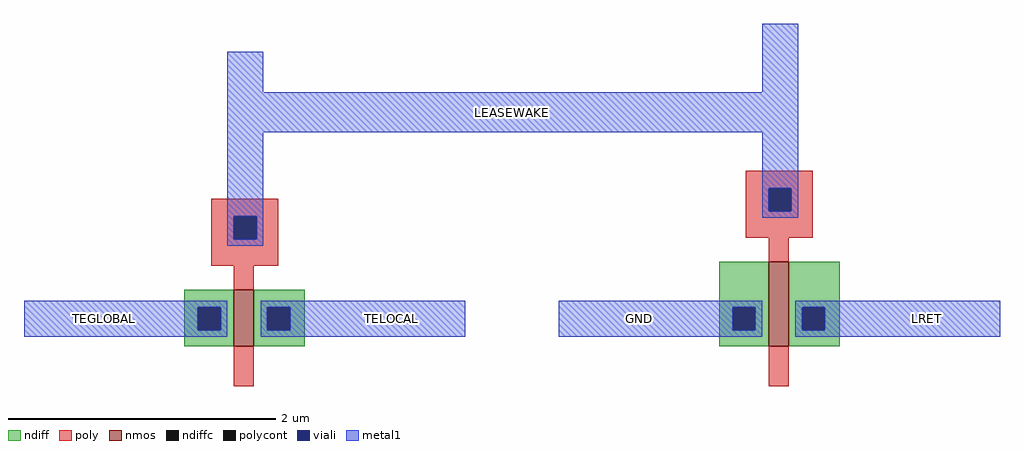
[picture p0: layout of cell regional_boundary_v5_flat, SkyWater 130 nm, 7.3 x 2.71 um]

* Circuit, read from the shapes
.subckt regional_boundary_v5_flat GND LEASEWAKE LRET TEGLOBAL TELOCAL
XM1 TELOCAL LEASEWAKE TEGLOBAL VSUBS sky130_fd_pr__nfet_01v8 w=0.42 l=0.15
XM2 LRET LEASEWAKE GND VSUBS sky130_fd_pr__nfet_01v8 w=0.63 l=0.15
.ends

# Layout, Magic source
magic
tech sky130A
<< nmos >>
rect 37 30 52 72
rect 437 30 452 93
<< ndiff >>
rect 0 59 37 72
rect 0 42 10 59
rect 27 42 37 59
rect 0 30 37 42
rect 52 59 90 72
rect 52 42 62 59
rect 79 42 90 59
rect 52 30 90 42
rect 400 59 437 93
rect 400 42 410 59
rect 427 42 437 59
rect 400 30 437 42
rect 452 59 490 93
rect 452 42 462 59
rect 479 42 490 59
rect 452 30 490 42
<< ndiffc >>
rect 10 42 27 59
rect 62 42 79 59
rect 410 42 427 59
rect 462 42 479 59
<< poly >>
rect 420 148 470 161
rect 20 127 70 140
rect 20 110 37 127
rect 54 110 70 127
rect 420 131 437 148
rect 454 131 470 148
rect 420 111 470 131
rect 20 90 70 110
rect 437 93 452 111
rect 37 72 52 90
rect 37 0 52 30
rect 437 0 452 30
<< polycont >>
rect 37 110 54 127
rect 437 131 454 148
<< viali >>
rect 437 131 454 148
rect 37 110 54 127
rect 10 42 27 59
rect 62 42 79 59
rect 410 42 427 59
rect 462 42 479 59
<< metal1 >>
rect 32 220 59 250
rect 432 220 459 271
rect 32 190 459 220
rect 32 127 59 190
rect 32 110 37 127
rect 54 110 59 127
rect 432 148 459 190
rect 432 131 437 148
rect 454 131 459 148
rect 432 126 459 131
rect 32 105 59 110
rect -120 59 32 64
rect -120 42 10 59
rect 27 42 32 59
rect -120 37 32 42
rect 57 59 210 64
rect 57 42 62 59
rect 79 42 210 59
rect 57 37 210 42
rect 280 59 432 64
rect 280 42 410 59
rect 427 42 432 59
rect 280 37 432 42
rect 457 59 610 64
rect 457 42 462 59
rect 479 42 610 59
rect 457 37 610 42
<< labels >>
rlabel metal1 -120 37 0 64 0 TEGLOBAL
rlabel metal1 100 37 210 64 0 TELOCAL
rlabel metal1 280 37 400 64 0 GND
rlabel metal1 500 37 610 64 0 LRET
rlabel metal1 220 192 270 218 0 LEASEWAKE
<< end >>
